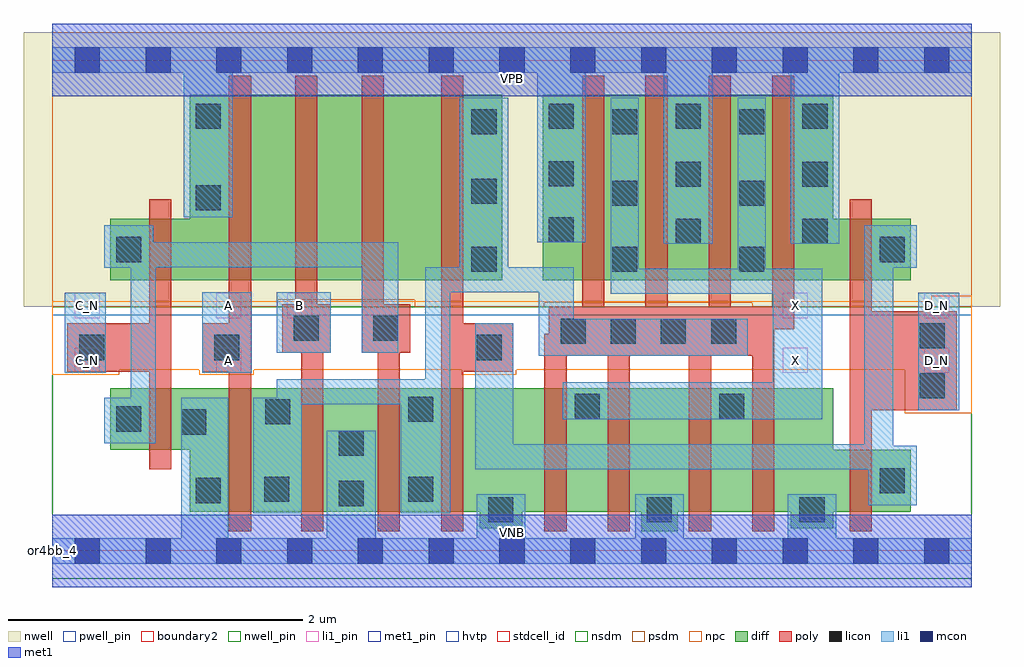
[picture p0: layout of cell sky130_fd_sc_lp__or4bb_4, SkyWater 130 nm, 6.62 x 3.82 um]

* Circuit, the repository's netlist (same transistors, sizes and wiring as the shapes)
* Copyright 2020 The SkyWater PDK Authors
*
* Licensed under the Apache License, Version 2.0 (the "License");
* you may not use this file except in compliance with the License.
* You may obtain a copy of the License at
*
*     https://www.apache.org/licenses/LICENSE-2.0
*
* Unless required by applicable law or agreed to in writing, software
* distributed under the License is distributed on an "AS IS" BASIS,
* WITHOUT WARRANTIES OR CONDITIONS OF ANY KIND, either express or implied.
* See the License for the specific language governing permissions and
* limitations under the License.
*
* SPDX-License-Identifier: Apache-2.0

.SUBCKT sky130_fd_sc_lp__or4bb_4 A B C_N D_N VGND VNB VPB VPWR X
*.PININFO A:I B:I C_N:I D_N:I VGND:I VNB:I VPB:I VPWR:I X:O
MMP0 VPWR A sndPA VPB sky130_fd_pr__pfet_01v8_hvt m=1 w=1.26U l=0.15U mult=1 sa=0.265
+ sb=0.265 sd=0.28 area=0.063 perim=1.14
MMP1 sndPA B sndPB VPB sky130_fd_pr__pfet_01v8_hvt m=1 w=1.26U l=0.15U mult=1 sa=0.265
+ sb=0.265 sd=0.28 area=0.063 perim=1.14
MMP2 sndPB C sndPC VPB sky130_fd_pr__pfet_01v8_hvt m=1 w=1.26U l=0.15U mult=1 sa=0.265
+ sb=0.265 sd=0.28 area=0.063 perim=1.14
MMP3 sndPC D y VPB sky130_fd_pr__pfet_01v8_hvt m=1 w=1.26U l=0.15U mult=1 sa=0.265
+ sb=0.265 sd=0.28 area=0.063 perim=1.14
MMIP2 C C_N VPWR VPB sky130_fd_pr__pfet_01v8_hvt m=1 w=0.42U l=0.15U mult=1 sa=0.265
+ sb=0.265 sd=0.28 area=0.063 perim=1.14
MMIP3 D D_N VPWR VPB sky130_fd_pr__pfet_01v8_hvt m=1 w=0.42U l=0.15U mult=1 sa=0.265
+ sb=0.265 sd=0.28 area=0.063 perim=1.14
MMIP4 X y VPWR VPB sky130_fd_pr__pfet_01v8_hvt m=4 w=1.26U l=0.15U mult=1 sa=0.265
+ sb=0.265 sd=0.28 area=0.063 perim=1.14
MMN0 y A VGND VNB sky130_fd_pr__nfet_01v8 m=1 w=0.84U l=0.15U mult=1 sa=0.265 sb=0.265
+ sd=0.28 area=0.063 perim=1.14
MMN1 y B VGND VNB sky130_fd_pr__nfet_01v8 m=1 w=0.84U l=0.15U mult=1 sa=0.265 sb=0.265
+ sd=0.28 area=0.063 perim=1.14
MMN2 y C VGND VNB sky130_fd_pr__nfet_01v8 m=1 w=0.84U l=0.15U mult=1 sa=0.265 sb=0.265
+ sd=0.28 area=0.063 perim=1.14
MMN3 y D VGND VNB sky130_fd_pr__nfet_01v8 m=1 w=0.84U l=0.15U mult=1 sa=0.265 sb=0.265
+ sd=0.28 area=0.063 perim=1.14
MMIN2 C C_N VGND VNB sky130_fd_pr__nfet_01v8 m=1 w=0.42U l=0.15U mult=1 sa=0.265
+ sb=0.265 sd=0.28 area=0.063 perim=1.14
MMIN3 D D_N VGND VNB sky130_fd_pr__nfet_01v8 m=1 w=0.42U l=0.15U mult=1 sa=0.265
+ sb=0.265 sd=0.28 area=0.063 perim=1.14
MMIN4 X y VGND VNB sky130_fd_pr__nfet_01v8 m=4 w=0.84U l=0.15U mult=1 sa=0.265
+ sb=0.265 sd=0.28 area=0.063 perim=1.14
.ENDS sky130_fd_sc_lp__or4bb_4

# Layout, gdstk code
import gdstk
lib = gdstk.Library(unit=1e-6, precision=1e-09)
def R(c, l, rs):  # rectangles x0, y0, x1, y1
    for r in rs: c.add(gdstk.rectangle(r[:2], r[2:], *l))
def A(c, l, x, y, w, h, nx, ny, dx, dy):  # array of equal rectangles
    R(c, l, [(x+i*dx, y+j*dy, x+i*dx+w, y+j*dy+h) for i in range(nx) for j in range(ny)])
def P(c, l, *ps):  # polygons
    for p in ps: c.add(gdstk.Polygon(p, *l))
nwell_pin = (64, 16)
nwell = (64, 20)
diff = (65, 20)
poly = (66, 20)
licon = (66, 44)
li1_pin = (67, 16)
li1 = (67, 20)
mcon = (67, 44)
met1_pin = (68, 16)
met1 = (68, 20)
hvtp = (78, 44)
stdcell_id = (81, 4)
nsdm = (93, 44)
psdm = (94, 20)
npc = (95, 20)
pwell_pin = (122, 16)
boundary2 = (236, 0)

sky130_fd_sc_lp__or4bb_4 = lib.new_cell('sky130_fd_sc_lp__or4bb_4')
R(sky130_fd_sc_lp__or4bb_4, nwell_pin, [(0,3.085,6.24,3.33)])
R(sky130_fd_sc_lp__or4bb_4, nwell, [(-0.19,1.655,6.43,3.52)])
P(sky130_fd_sc_lp__or4bb_4, diff, [(3.055,3.095),(0.935,3.095),(0.935,2.255),(0.395,2.255),(0.395,1.835),(3.055,1.835)],
  [(5.825,2.255),(5.3,2.255),(5.3,3.095),(3.33,3.095),(3.33,1.835),(5.825,1.835)],
  [(5.825,0.685),(5.3,0.685),(5.3,1.105),(0.395,1.105),(0.395,0.685),(0.935,0.685),(0.935,0.265),(2.9,0.265),(2.9,0.155),(3.19,0.155),(3.19,0.265),(3.995,0.265),(3.995,0.135),(4.245,0.135),(4.245,0.265),(5.01,0.265),(5.01,0.155),(5.3,0.155),(5.3,0.265),(5.825,0.265)])
P(sky130_fd_sc_lp__or4bb_4, poly, [(0.81,2.385),(0.66,2.385),(0.66,1.545),(0.105,1.545),(0.105,1.215),(0.66,1.215),(0.66,0.555),(0.81,0.555)],
  [(1.35,3.225),(1.2,3.225),(1.2,1.545),(1.02,1.545),(1.02,1.215),(1.2,1.215),(1.2,0.135),(1.35,0.135)],
  [(1.89,1.675),(1.8,1.675),(1.8,3.225),(1.65,3.225),(1.65,1.675),(1.56,1.675),(1.56,1.345),(1.69,1.345),(1.69,0.135),(1.84,0.135),(1.84,1.345),(1.89,1.345)],
  [(2.43,1.675),(2.25,1.675),(2.25,3.225),(2.1,3.225),(2.1,1.345),(2.21,1.345),(2.21,0.135),(2.36,0.135),(2.36,1.345),(2.43,1.345)],
  [(3.13,1.545),(2.79,1.545),(2.79,3.225),(2.64,3.225),(2.64,0.135),(2.79,0.135),(2.79,1.215),(3.13,1.215)],
  [(5.035,3.225),(4.885,3.225),(4.885,1.655),(4.605,1.655),(4.605,3.225),(4.455,3.225),(4.455,1.655),(4.175,1.655),(4.175,3.225),(4.025,3.225),(4.025,1.655),(3.745,1.655),(3.745,3.225),(3.595,3.225),(3.595,1.655),(3.37,1.655),(3.37,1.475),(3.34,1.475),(3.34,0.135),(3.49,0.135),(3.49,1.325),(3.77,1.325),(3.77,0.135),(3.92,0.135),(3.92,1.325),(4.32,1.325),(4.32,0.135),(4.47,0.135),(4.47,1.325),(4.75,1.325),(4.75,0.135),(4.9,0.135),(4.9,1.505),(5.035,1.505)],
  [(6.135,1.625),(5.56,1.625),(5.56,2.385),(5.41,2.385),(5.41,0.135),(5.56,0.135),(5.56,0.955),(6.135,0.955)])
A(sky130_fd_sc_lp__or4bb_4, licon, 3.45, 1.405, 0.17, 0.17, 4, 1, 0.34, 0)
A(sky130_fd_sc_lp__or4bb_4, licon, 3.37, 2.865, 0.17, 0.17, 3, 1, 0.86, 0)
R(sky130_fd_sc_lp__or4bb_4, licon, [(2.96,0.195,3.13,0.365), (4.035,0.195,4.205,0.365), (5.07,0.195,5.24,0.365), (1.945,0.305,2.115,0.475), (0.975,0.325,1.145,0.495), (1.44,0.335,1.61,0.505), (2.415,0.335,2.585,0.505), (5.615,0.39,5.785,0.56), (1.945,0.645,2.115,0.815), (0.875,0.79,1.045,0.96), (0.435,0.81,0.605,0.98), (1.445,0.86,1.615,1.03), (2.415,0.875,2.585,1.045), (3.545,0.895,3.715,1.065), (4.525,0.895,4.695,1.065), (5.885,1.035,6.055,1.205), (0.185,1.295,0.355,1.465), (1.1,1.295,1.27,1.465), (2.88,1.295,3.05,1.465), (5.885,1.375,6.055,1.545), (1.64,1.425,1.81,1.595), (2.18,1.425,2.35,1.595), (2.845,1.895,3.015,2.065), (3.8,1.895,3.97,2.065), (4.66,1.895,4.83,2.065), (0.435,1.96,0.605,2.13), (5.615,1.96,5.785,2.13), (4.23,2.085,4.4,2.255), (5.09,2.085,5.26,2.255), (3.37,2.095,3.54,2.265), (0.975,2.31,1.145,2.48), (3.8,2.34,3.97,2.51), (4.66,2.34,4.83,2.51), (2.845,2.355,3.015,2.525), (4.23,2.47,4.4,2.64), (5.09,2.47,5.26,2.64), (3.37,2.475,3.54,2.645), (2.845,2.825,3.015,2.995), (3.8,2.825,3.97,2.995), (4.66,2.825,4.83,2.995), (0.975,2.865,1.145,3.035)])
R(sky130_fd_sc_lp__or4bb_4, li1_pin, [(0.155,1.21,0.325,1.38), (1.115,1.21,1.285,1.38), (4.955,1.21,5.125,1.38), (5.915,1.21,6.085,1.38), (0.155,1.58,0.325,1.75), (1.115,1.58,1.285,1.75), (1.595,1.58,1.765,1.75), (4.955,1.58,5.125,1.75), (5.915,1.58,6.085,1.75)])
R(sky130_fd_sc_lp__or4bb_4, li1, [(5.875,0.955,6.155,1.75), (0.085,1.21,0.365,1.75), (1.02,1.21,1.355,1.755), (1.525,1.345,1.89,1.755)])
P(sky130_fd_sc_lp__or4bb_4, li1, [(0.895,2.265),(0.895,3.245),(0,3.245),(0,3.415),(6.24,3.415),(6.24,3.245),(5.34,3.245),(5.34,2.085),(5.01,2.085),(5.01,3.245),(4.48,3.245),(4.48,2.085),(4.15,2.085),(4.15,3.245),(3.62,3.245),(3.62,2.095),(3.29,2.095),(3.29,3.245),(1.225,3.245),(1.225,2.265)],
  [(3.955,0.085),(3.955,0.385),(4.285,0.385),(4.285,0.085),(4.99,0.085),(4.99,0.385),(5.32,0.385),(5.32,0.085),(6.24,0.085),(6.24,-0.085),(0,-0.085),(0,0.085),(0.875,0.085),(0.875,1.04),(1.195,1.04),(1.195,0.085),(1.865,0.085),(1.865,0.815),(2.195,0.815),(2.195,0.085),(2.88,0.085),(2.88,0.385),(3.21,0.385),(3.21,0.085)],
  [(2.35,2.095),(0.685,2.095),(0.685,2.21),(0.355,2.21),(0.355,1.92),(0.535,1.92),(0.535,1.04),(0.355,1.04),(0.355,0.73),(0.705,0.73),(0.705,1.925),(2.1,1.925),(2.1,1.345),(2.35,1.345)],
  [(4.72,1.575),(3.54,1.575),(3.54,1.925),(3.095,1.925),(3.095,3.075),(2.765,3.075),(2.765,1.925),(2.53,1.925),(2.53,1.165),(1.525,1.165),(1.525,1.04),(1.365,1.04),(1.365,0.255),(1.695,0.255),(1.695,0.995),(2.365,0.995),(2.365,0.255),(2.7,0.255),(2.7,1.755),(3.3,1.755),(3.3,1.325),(4.72,1.325)],
  [(3.98,1.915),(4.65,1.915),(4.65,3.075),(4.84,3.075),(4.84,1.915),(5.225,1.915),(5.225,0.895),(3.465,0.895),(3.465,1.145),(4.89,1.145),(4.89,1.745),(3.79,1.745),(3.79,3.075),(3.98,3.075)],
  [(5.51,0.725),(5.51,2.21),(5.865,2.21),(5.865,1.92),(5.705,1.92),(5.705,0.715),(5.865,0.715),(5.865,0.31),(5.535,0.31),(5.535,0.555),(2.87,0.555),(2.87,1.545),(3.13,1.545),(3.13,0.725)])
A(sky130_fd_sc_lp__or4bb_4, mcon, 0.155, -0.085, 0.17, 0.17, 13, 2, 0.48, 3.33)
R(sky130_fd_sc_lp__or4bb_4, met1_pin, [(0,0,6.24,0.245), (0,3.085,6.24,3.33)])
R(sky130_fd_sc_lp__or4bb_4, met1, [(0,-0.245,6.24,0.245), (0,3.085,6.24,3.575)])
R(sky130_fd_sc_lp__or4bb_4, hvtp, [(0,1.6,6.24,3.33)])
R(sky130_fd_sc_lp__or4bb_4, stdcell_id, [(0,0,6.24,3.33)])
R(sky130_fd_sc_lp__or4bb_4, nsdm, [(0,-0.19,6.24,1.655)])
P(sky130_fd_sc_lp__or4bb_4, psdm, [(6.24,3.52),(0,3.52),(0,1.655),(1.53,1.655),(1.53,1.705),(2.46,1.705),(2.46,1.655),(3.34,1.655),(3.34,1.685),(4.75,1.685),(4.75,1.655),(6.24,1.655)])
P(sky130_fd_sc_lp__or4bb_4, npc, [(6.24,1.73),(5.965,1.73),(5.965,1.695),(0,1.695),(0,1.195),(0.455,1.195),(0.455,1.23),(1,1.23),(1,1.195),(1.37,1.195),(1.37,1.23),(2.78,1.23),(2.78,1.195),(3.15,1.195),(3.15,1.23),(5.785,1.23),(5.785,0.935),(6.24,0.935)])
R(sky130_fd_sc_lp__or4bb_4, pwell_pin, [(0,0,6.24,0.245)])
R(sky130_fd_sc_lp__or4bb_4, boundary2, [(0,0,6.24,3.33)])
sky130_fd_sc_lp__or4bb_4.add(gdstk.Label('VNB', (3.12,0.123), layer=64, texttype=59))
sky130_fd_sc_lp__or4bb_4.add(gdstk.Label('VPB', (3.12,3.208), layer=64, texttype=5))
sky130_fd_sc_lp__or4bb_4.add(gdstk.Label('or4bb_4', (0,0), layer=83, texttype=44))
sky130_fd_sc_lp__or4bb_4.add(gdstk.Label('VPWR', (3.12,3.208), layer=68, texttype=5))
sky130_fd_sc_lp__or4bb_4.add(gdstk.Label('VGND', (3.12,0.123), layer=68, texttype=5))
sky130_fd_sc_lp__or4bb_4.add(gdstk.Label('A', (1.2,1.295), layer=67, texttype=5))
sky130_fd_sc_lp__or4bb_4.add(gdstk.Label('A', (1.2,1.665), layer=67, texttype=5))
sky130_fd_sc_lp__or4bb_4.add(gdstk.Label('B', (1.68,1.665), layer=67, texttype=5))
sky130_fd_sc_lp__or4bb_4.add(gdstk.Label('C_N', (0.24,1.295), layer=67, texttype=5))
sky130_fd_sc_lp__or4bb_4.add(gdstk.Label('C_N', (0.24,1.665), layer=67, texttype=5))
sky130_fd_sc_lp__or4bb_4.add(gdstk.Label('D_N', (6,1.295), layer=67, texttype=5))
sky130_fd_sc_lp__or4bb_4.add(gdstk.Label('D_N', (6,1.665), layer=67, texttype=5))
sky130_fd_sc_lp__or4bb_4.add(gdstk.Label('X', (5.04,1.295), layer=67, texttype=5))
sky130_fd_sc_lp__or4bb_4.add(gdstk.Label('X', (5.04,1.665), layer=67, texttype=5))

lib.write_gds('sky130_fd_sc_lp__or4bb_4.gds')
